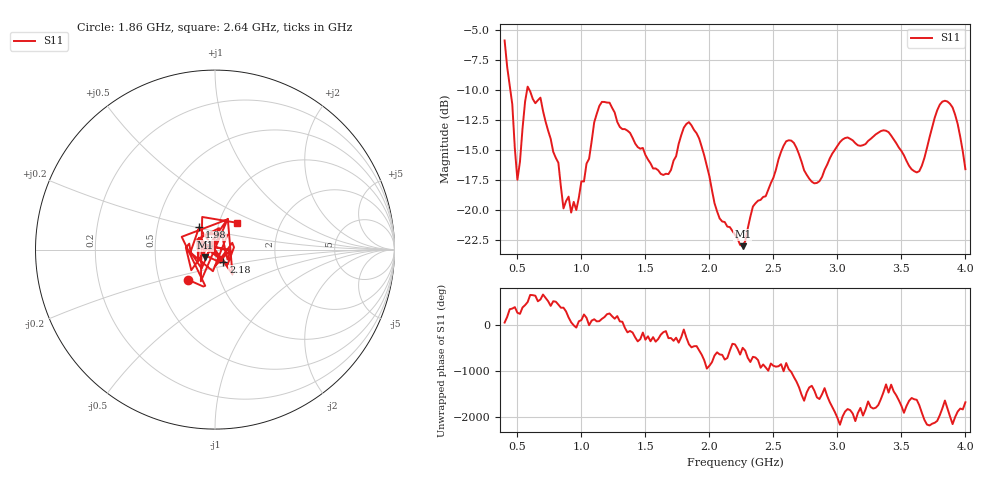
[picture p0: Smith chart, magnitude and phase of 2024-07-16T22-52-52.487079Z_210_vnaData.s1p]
!Created with skrf (http://scikit-rf.org).
# Hz S RI R 50.0
!freq ReS11 ImS11
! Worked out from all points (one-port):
!   181 points, 400 MHz to 4 GHz, reference 50 ohm
!   lowest |S11| = -23.0 dB at 2.26 GHz (marker M1), VSWR 1.15, Z = 44.5 - j3.86 ohm
!   |S11| at or under -10 dB: 444.6 MHz to 575.3 MHz (130.7 MHz wide, 25.6 % of centre); 594.8 MHz to end of sweep
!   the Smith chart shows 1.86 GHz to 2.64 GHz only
!   S11 on the Smith chart (normalised r, x): 1.86 GHz: 0.70, -0.25; 1.98 GHz: 0.81, +0.21; 2.18 GHz: 1.09, -0.15; 2.64 GHz: 1.22, +0.38
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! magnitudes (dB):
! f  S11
! 400 MHz  -5.8
! 460 MHz  -11.2
! 500 MHz  -17.5
! 580 MHz  -9.7
! 680 MHz  -10.6
! 820 MHz  -16.1
! 860 MHz  -19.9
! 960 MHz  -20.0
! 1.16 GHz  -11.0
! 1.3 GHz  -13.1
! 1.64 GHz  -17.1
! 1.76 GHz  -14.5
! 1.86 GHz  -12.9
! 1.98 GHz  -16.3
! 2.08 GHz  -20.7
! 2.18 GHz  -21.8
! 2.2 GHz  -22.1
! 2.26 GHz  -23.0
! 2.64 GHz  -14.2
! 2.66 GHz  -14.4
! 2.82 GHz  -17.8
! 3.1 GHz  -14.1
! 3.38 GHz  -13.4
! 3.56 GHz  -16.3
! 3.64 GHz  -16.8
! 3.84 GHz  -10.9
! 3.92 GHz  -12.1
! 4 GHz  -16.6
